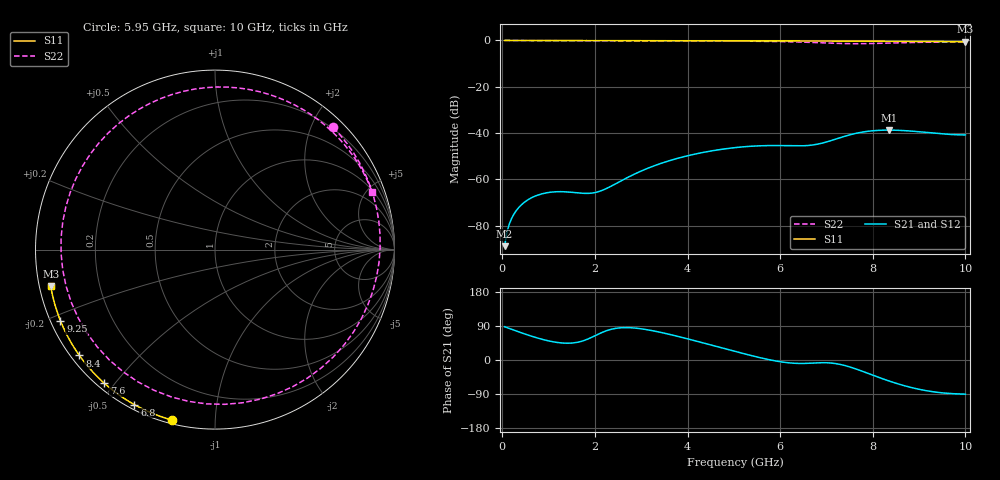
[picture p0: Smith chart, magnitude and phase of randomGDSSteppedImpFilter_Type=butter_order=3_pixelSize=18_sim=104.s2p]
! freq	dB(S11)	phase(S11)	dB(S12)	phase(S12)
!  dB(S21)	phase(S21)	dB(S22)	phase(S22)
!S-par simulation data
#  GHz  S  DB  R 50
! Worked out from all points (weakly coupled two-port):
!   200 points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, 50 MHz to 10 GHz, reference 50 ohm
!   highest |S21| = -38.73 dB at 8.35 GHz (marker M1); lowest = -88.9 dB at 50 MHz (marker M2)
!   lowest |S11| = -0.6 dB at 10 GHz (marker M3), VSWR 30.98, Z = 1.63 - j5.51 ohm
!   |S11| at or under -10 dB: nowhere
!   |S22| runs from -1.4 to 0.0 dB; largest |S21 - S12| = 0
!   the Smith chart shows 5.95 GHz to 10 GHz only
!   S11 on the Smith chart (normalised r, x): 5.95 GHz: 0.02, -0.78; 6.8 GHz: 0.02, -0.61; 7.6 GHz: 0.02, -0.47; 8.4 GHz: 0.02, -0.34; 9.25 GHz: 0.03, -0.22; 10 GHz: 0.03, -0.11
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0.05  -0.00 -1.0  -88.86 87.7  -88.86 87.7  -0.00 -3.7
0.45  -0.01 -8.6  -70.34 70.1  -70.34 70.1  -0.05 -32.2
0.9  -0.02 -17.1  -66.04 53.4  -66.04 53.4  -0.08 -62.4
1.3  -0.03 -24.6  -65.33 44.8  -65.33 44.8  -0.10 -87.0
1.75  -0.04 -32.9  -66.03 50.8  -66.03 50.8  -0.12 -111.9
2.55  -0.06 -47.4  -60.82 85.0  -60.82 85.0  -0.14 -150.3
3.4  -0.08 -62.4  -53.28 73.4  -53.28 73.4  -0.17 173.4
4.2  -0.11 -76.0  -48.91 49.6  -48.91 49.6  -0.21 139.7
5.05  -0.14 -89.9  -46.24 21.9  -46.24 21.9  -0.28 100.0
5.55  -0.16 -98.0  -45.52 6.6  -45.52 6.6  -0.36 72.2
5.95  -0.18 -104.3  -45.41 -3.5  -45.41 -3.5  -0.47 45.9
6.35  -0.21 -110.5  -45.54 -8.9  -45.54 -8.9  -0.64 14.2
6.7  -0.23 -115.9  -45.16 -8.1  -45.16 -8.1  -0.86 -19.8
6.8  -0.23 -117.5  -44.83 -7.5  -44.83 -7.5  -0.93 -30.7
7.2  -0.26 -123.6  -42.61 -9.5  -42.61 -9.5  -1.24 -79.8
7.6  -0.30 -129.7  -40.29 -22.1  -40.29 -22.1  -1.40 -133.6
7.95  -0.33 -135.1  -39.11 -37.7  -39.11 -37.7  -1.33 -178.5
8.35  -0.36 -141.2  -38.73 -55.4  -38.73 -55.4  -1.13 137.4
8.4  -0.37 -142.0  -38.74 -57.4  -38.74 -57.4  -1.10 132.5
8.8  -0.41 -148.2  -39.11 -71.7  -39.11 -71.7  -0.90 97.1
9.25  -0.46 -155.3  -39.90 -82.9  -39.90 -82.9  -0.74 64.2
10  -0.56 -167.4  -40.81 -90.1  -40.81 -90.1  -0.60 20.0
